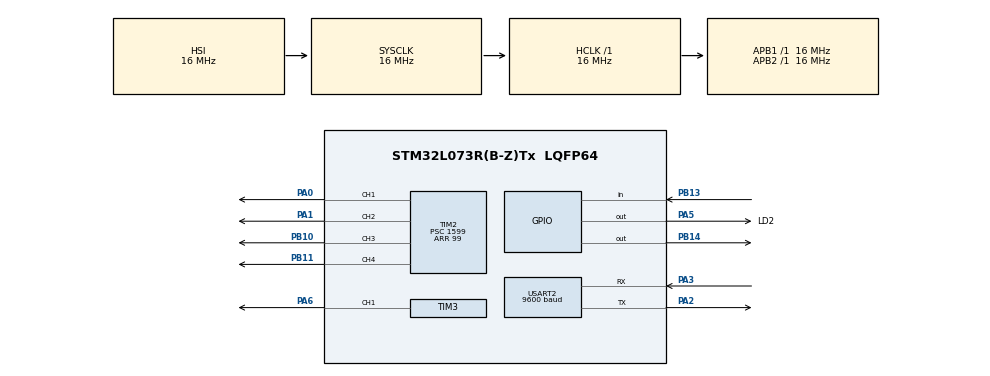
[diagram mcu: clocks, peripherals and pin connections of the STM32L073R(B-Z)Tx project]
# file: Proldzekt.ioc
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Mcu.Family=STM32L0
Mcu.Name=STM32L073R(B-Z)Tx
Mcu.Package=LQFP64
PA0.Signal=S_TIM2_CH1
PA1.Signal=S_TIM2_CH2
PA2.Mode=Asynchronous
PA2.Signal=USART2_TX
PA3.Mode=Asynchronous
PA3.Signal=USART2_RX
PA5.GPIO_Label=LD2
PA5.Signal=GPIO_Output
PA6.Signal=S_TIM3_CH1
PB10.Signal=S_TIM2_CH3
PB11.Signal=S_TIM2_CH4
PB13.Signal=GPIO_Input
PB14.Signal=GPIO_Output
PH0-OSC_IN.Mode=HSE-External-Oscillator
PH0-OSC_IN.Signal=RCC_OSC_IN
PH1-OSC_OUT.Mode=HSE-External-Oscillator
PH1-OSC_OUT.Signal=RCC_OSC_OUT
ProjectManager.HeapSize=0x200
ProjectManager.StackSize=0x400
ProjectManager.TargetToolchain=STM32CubeIDE
RCC.AHBFreq_Value=16000000
RCC.APB1Freq_Value=16000000
RCC.APB1TimFreq_Value=16000000
RCC.APB2Freq_Value=16000000
RCC.APB2TimFreq_Value=16000000
RCC.HCLKFreq_Value=16000000
RCC.HSE_VALUE=8000000
RCC.HSI16_VALUE=16000000
RCC.HSI48_VALUE=48000000
RCC.HSI_VALUE=16000000
RCC.LSE_VALUE=32768
RCC.MSI_VALUE=2097000
RCC.SYSCLKFreq_VALUE=16000000
RCC.SYSCLKSource=RCC_SYSCLKSOURCE_HSI
RCC.VCOOutputFreq_Value=48000000
SH.S_TIM2_CH1.0=TIM2_CH1,PWM Generation1 CH1
SH.S_TIM2_CH2.0=TIM2_CH2,PWM Generation2 CH2
SH.S_TIM2_CH3.0=TIM2_CH3,PWM Generation3 CH3
SH.S_TIM2_CH4.0=TIM2_CH4,PWM Generation4 CH4
SH.S_TIM3_CH1.0=TIM3_CH1,PWM Generation1 CH1
TIM2.Channel-PWM\ Generation1\ CH1=TIM_CHANNEL_1
TIM2.Channel-PWM\ Generation2\ CH2=TIM_CHANNEL_2
TIM2.Channel-PWM\ Generation3\ CH3=TIM_CHANNEL_3
TIM2.Channel-PWM\ Generation4\ CH4=TIM_CHANNEL_4
TIM2.Period=99
TIM2.Prescaler=1599
TIM21.Prescaler=15
TIM3.Channel-PWM\ Generation1\ CH1=TIM_CHANNEL_1
TIM3.Period=1000
TIM3.Prescaler=319
USART2.BaudRate=9600
USART2.VirtualMode-Asynchronous=VM_ASYNC
VP_TIM21_VS_ClockSourceINT.Mode=Internal
board=custom

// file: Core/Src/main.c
/* USER CODE BEGIN Header */
/**
  ******************************************************************************
  * @file           : main.c
  * @brief          : Main program body
  ******************************************************************************
  * @attention
  *
  * Copyright (c) 2023 STMicroelectronics.
  * All rights reserved.
  *
  * This software is licensed under terms that can be found in the LICENSE file
  * in the root directory of this software component.
  * If no LICENSE file comes with this software, it is provided AS-IS.
  *
  ******************************************************************************
  */
/* USER CODE END Header */
#include "main.h"

 TIM_HandleTypeDef htim2;
TIM_HandleTypeDef htim3;
TIM_HandleTypeDef htim21;

UART_HandleTypeDef huart2;

/* USER CODE BEGIN PV */
#define TRIG_PIN GPIO_PIN_14
#define TRIG_PORT GPIOB
#define ECHO_PIN GPIO_PIN_13
#define ECHO_PORT GPIOB
uint32_t pMillis;
uint32_t Value1 = 0;
uint32_t Value2 = 0;
uint16_t Distance  = 0;  // cm
/* USER CODE END PV */

void SystemClock_Config(void);
static void MX_GPIO_Init(void);
static void MX_TIM2_Init(void);
static void MX_TIM3_Init(void);
static void MX_TIM21_Init(void);
static void MX_USART2_UART_Init(void);

int main(void)
{

  /* MCU Configuration--------------------------------------------------------*/

  /* Reset of all peripherals, Initializes the Flash interface and the Systick. */
  HAL_Init();

  /* Configure the system clock */
  SystemClock_Config();

  /* Initialize all configured peripherals */
  MX_GPIO_Init();
  MX_TIM2_Init();
  MX_TIM3_Init();
  MX_TIM21_Init();
  MX_USART2_UART_Init();
  /* USER CODE BEGIN 2 */
  HAL_TIM_PWM_Start(&htim2, TIM_CHANNEL_1);
  HAL_TIM_PWM_Start(&htim2, TIM_CHANNEL_2);
  HAL_TIM_PWM_Start(&htim2, TIM_CHANNEL_3);
  HAL_TIM_PWM_Start(&htim2, TIM_CHANNEL_4);
  HAL_TIM_PWM_Start(&htim3, TIM_CHANNEL_1);
  HAL_TIM_Base_Start(&htim21);
  HAL_GPIO_WritePin(TRIG_PORT, TRIG_PIN, GPIO_PIN_RESET);
  /* USER CODE END 2 */

  /* Infinite loop */
  /* USER CODE BEGIN WHILE */
  __HAL_TIM_SET_COMPARE(&htim2 , TIM_CHANNEL_1 , 70 ) ;
  uint8_t buffor[1];
  int speed=25;
  int gear=2;
  while (1)
  { /*
	  HAL_GPIO_WritePin(TRIG_PORT, TRIG_PIN, GPIO_PIN_SET);  // pull the TRIG pin HIGH
	  	  __HAL_TIM_SET_COUNTER(&htim21, 0);
	  	  while (__HAL_TIM_GET_COUNTER (&htim21) < 10);  // wait for 10 us
	  	  HAL_GPIO_WritePin(TRIG_PORT, TRIG_PIN, GPIO_PIN_RESET);  // pull the TRIG pin low

	  	  pMillis = HAL_GetTick(); // used this to avoid infinite while loop  (for timeout)
	  	  	   // wait for the echo pin to go high
	  	  while (!(HAL_GPIO_ReadPin (ECHO_PORT, ECHO_PIN)) && pMillis + 10 >  HAL_GetTick());
	  	  Value1 = __HAL_TIM_GET_COUNTER (&htim21);

	  	  pMillis = HAL_GetTick(); // used this to avoid infinite while loop (for timeout)
	  	  	   // wait for the echo pin to go low
	  	  while ((HAL_GPIO_ReadPin (ECHO_PORT, ECHO_PIN)) && pMillis + 50 > HAL_GetTick());
	  	  Value2 = __HAL_TIM_GET_COUNTER (&htim21);

	  	  Distance = (Value2-Value1)* 0.034/2;
	  	  delay(30)/50;
*/

	  buffor[0]=0;

	  HAL_UART_Receive(&huart2, buffor, 1,10);
	  //if(buffor[0]=='1') gear=1;
	  if(buffor[0]=='2') gear=2;
	  if(buffor[0]=='3') gear=3;
	  if(buffor[0]=='4') gear=4;
	  if(buffor[0]=='w'){
		  	 for(int i = 0; i<=speed; i++){
			  __HAL_TIM_SET_COMPARE(&htim2, TIM_CHANNEL_1, gear*i);
			  __HAL_TIM_SET_COMPARE(&htim2, TIM_CHANNEL_2, gear*i);
			  __HAL_TIM_SET_COMPARE(&htim2, TIM_CHANNEL_3, 0);
			  __HAL_TIM_SET_COMPARE(&htim2, TIM_CHANNEL_4, 0);
		  	 }
//		  HAL_GPIO_WritePin(M1A_GPIO_Port, M1A_Pin, 1);
//		  HAL_GPIO_WritePin(M1B_GPIO_Port, M1B_Pin, 0);
//		  HAL_GPIO_WritePin(M2A_GPIO_Port, M2A_Pin, 1);
//		  HAL_GPIO_WritePin(M2B_GPIO_Port, M2B_Pin, 0);

	  }
	  if(buffor[0]=='s'){
		  for(int i = 0 ; i<=speed; i+=1){
			  __HAL_TIM_SET_COMPARE(&htim2, TIM_CHANNEL_1, 0);
			  __HAL_TIM_SET_COMPARE(&htim2, TIM_CHANNEL_2, 0);
			  __HAL_TIM_SET_COMPARE(&htim2, TIM_CHANNEL_3, gear*i);
			  __HAL_TIM_SET_COMPARE(&htim2, TIM_CHANNEL_4, gear*i);
		  }
//		  HAL_GPIO_WritePin(M1A_GPIO_Port, M1A_Pin, 0);
//		  HAL_GPIO_WritePin(M1B_GPIO_Port, M1B_Pin, 1);
//		  HAL_GPIO_WritePin(M2A_GPIO_Port, M2A_Pin, 0);
//		  HAL_GPIO_WritePin(M2B_GPIO_Port, M2B_Pin, 1);
	  }
	  if(buffor[0]==0){
		  __HAL_TIM_SET_COMPARE(&htim2, TIM_CHANNEL_1, 0);
		  __HAL_TIM_SET_COMPARE(&htim2, TIM_CHANNEL_2, 0);
		  __HAL_TIM_SET_COMPARE(&htim2, TIM_CHANNEL_3, 0);
		  __HAL_TIM_SET_COMPARE(&htim2, TIM_CHANNEL_4, 0);

//		  HAL_GPIO_WritePin(M1A_GPIO_Port, M1A_Pin, 0);
//		  HAL_GPIO_WritePin(M1B_GPIO_Port, M1B_Pin, 0);
//		  HAL_GPIO_WritePin(M2A_GPIO_Port, M2A_Pin, 0);
//		  HAL_GPIO_WritePin(M2B_GPIO_Port, M2B_Pin, 0);

	  }
	  if (buffor[0]=='d'){
		  int i =__HAL_TIM_GET_COMPARE(&htim3, TIM_CHANNEL_1);
		  for(; i<=90;i+=5){
		 		__HAL_TIM_SET_COMPARE(&htim3, TIM_CHANNEL_1 , i ) ;
		 		HAL_Delay(30);
		  }

//		   __HAL_TIM_SET_COMPARE(&htim5, TIM_CHANNEL_1, 60); // 135
//		   HAL_Delay(70);
//		   __HAL_TIM_SET_COMPARE(&htim5, TIM_CHANNEL_1, 70); // 135
//		   HAL_Delay(70);
//		   __HAL_TIM_SET_COMPARE(&htim5, TIM_CHANNEL_1, 80); // 135
//		   HAL_Delay(70);
//		   __HAL_TIM_SET_COMPARE(&htim5, TIM_CHANNEL_1, 90); // 135
//		   HAL_Delay(70);
  //		   __HAL_TIM_SET_COMPARE(&htim5, TIM_CHANNEL_1, 100); // 135
  //		   HAL_Delay(70);
		   //clicked=0;
	   }
	   if (buffor[0]=='x'){
		   int i =__HAL_TIM_GET_COMPARE(&htim3 , TIM_CHANNEL_1);
		   if(i<70)
			   for(; i<=70;i+=5){
					__HAL_TIM_SET_COMPARE(&htim3 , TIM_CHANNEL_1 , i ) ;
					HAL_Delay(30);
			   }
		   if(i>70)
		 	   for(; i>=70;i-=5){
		 		     __HAL_TIM_SET_COMPARE(&htim3 , TIM_CHANNEL_1 , i) ;
		 		     HAL_Delay(30);
		 	   }
//		   __HAL_TIM_SET_COMPARE(&htim5, TIM_CHANNEL_1, 90); // 90
//		   HAL_Delay(70);
//		   __HAL_TIM_SET_COMPARE(&htim5, TIM_CHANNEL_1, 80); // 90
//		   HAL_Delay(70);
//		   __HAL_TIM_SET_COMPARE(&htim5, TIM_CHANNEL_1, 71); // 90
//		   HAL_Delay(70);
		   //clicked=0;
	   }
	   if (buffor[0]=='a'){

		   int i =__HAL_TIM_GET_COMPARE(&htim3 , TIM_CHANNEL_1);
		   for(; i>=50;i-=5){
		   		 __HAL_TIM_SET_COMPARE(&htim3 , TIM_CHANNEL_1 , i ) ;
		   		 HAL_Delay(30);
		   }
//		   __HAL_TIM_SET_COMPARE(&htim5, TIM_CHANNEL_1, 70); // 45
//		   HAL_Delay(70);
//		   __HAL_TIM_SET_COMPARE(&htim5, TIM_CHANNEL_1, 60); // 45
//		   HAL_Delay(70);
//		   __HAL_TIM_SET_COMPARE(&htim5, TIM_CHANNEL_1, 50); // 45
//		   HAL_Delay(70);
		   //clicked=0;
	   }

    /* USER CODE END WHILE */

  }
}

void SystemClock_Config(void)
{
  RCC_OscInitTypeDef RCC_OscInitStruct = {0};
  RCC_ClkInitTypeDef RCC_ClkInitStruct = {0};
  RCC_PeriphCLKInitTypeDef PeriphClkInit = {0};

  /** Configure the main internal regulator output voltage
  */
  __HAL_PWR_VOLTAGESCALING_CONFIG(PWR_REGULATOR_VOLTAGE_SCALE1);

  /** Initializes the RCC Oscillators according to the specified parameters
  * in the RCC_OscInitTypeDef structure.
  */
  RCC_OscInitStruct.OscillatorType = RCC_OSCILLATORTYPE_HSI;
  RCC_OscInitStruct.HSIState = RCC_HSI_ON;
  RCC_OscInitStruct.HSICalibrationValue = RCC_HSICALIBRATION_DEFAULT;
  RCC_OscInitStruct.PLL.PLLState = RCC_PLL_NONE;
  if (HAL_RCC_OscConfig(&RCC_OscInitStruct) != HAL_OK)
  {
    Error_Handler();
  }

  /** Initializes the CPU, AHB and APB buses clocks
  */
  RCC_ClkInitStruct.ClockType = RCC_CLOCKTYPE_HCLK|RCC_CLOCKTYPE_SYSCLK
                              |RCC_CLOCKTYPE_PCLK1|RCC_CLOCKTYPE_PCLK2;
  RCC_ClkInitStruct.SYSCLKSource = RCC_SYSCLKSOURCE_HSI;
  RCC_ClkInitStruct.AHBCLKDivider = RCC_SYSCLK_DIV1;
  RCC_ClkInitStruct.APB1CLKDivider = RCC_HCLK_DIV1;
  RCC_ClkInitStruct.APB2CLKDivider = RCC_HCLK_DIV1;

  if (HAL_RCC_ClockConfig(&RCC_ClkInitStruct, FLASH_LATENCY_0) != HAL_OK)
  {
    Error_Handler();
  }
  PeriphClkInit.PeriphClockSelection = RCC_PERIPHCLK_USART2;
  PeriphClkInit.Usart2ClockSelection = RCC_USART2CLKSOURCE_PCLK1;
  if (HAL_RCCEx_PeriphCLKConfig(&PeriphClkInit) != HAL_OK)
  {
    Error_Handler();
  }
}

static void MX_TIM2_Init(void)
{

  TIM_MasterConfigTypeDef sMasterConfig = {0};
  TIM_OC_InitTypeDef sConfigOC = {0};

  htim2.Instance = TIM2;
  htim2.Init.Prescaler = 1599;
  htim2.Init.CounterMode = TIM_COUNTERMODE_UP;
  htim2.Init.Period = 99;
  htim2.Init.ClockDivision = TIM_CLOCKDIVISION_DIV1;
  htim2.Init.AutoReloadPreload = TIM_AUTORELOAD_PRELOAD_DISABLE;
  if (HAL_TIM_PWM_Init(&htim2) != HAL_OK)
  {
    Error_Handler();
  }
  sMasterConfig.MasterOutputTrigger = TIM_TRGO_RESET;
  sMasterConfig.MasterSlaveMode = TIM_MASTERSLAVEMODE_DISABLE;
  if (HAL_TIMEx_MasterConfigSynchronization(&htim2, &sMasterConfig) != HAL_OK)
  {
    Error_Handler();
  }
  sConfigOC.OCMode = TIM_OCMODE_PWM1;
  sConfigOC.Pulse = 0;
  sConfigOC.OCPolarity = TIM_OCPOLARITY_HIGH;
  sConfigOC.OCFastMode = TIM_OCFAST_DISABLE;
  if (HAL_TIM_PWM_ConfigChannel(&htim2, &sConfigOC, TIM_CHANNEL_1) != HAL_OK)
  {
    Error_Handler();
  }
  if (HAL_TIM_PWM_ConfigChannel(&htim2, &sConfigOC, TIM_CHANNEL_2) != HAL_OK)
  {
    Error_Handler();
  }
  if (HAL_TIM_PWM_ConfigChannel(&htim2, &sConfigOC, TIM_CHANNEL_3) != HAL_OK)
  {
    Error_Handler();
  }
  if (HAL_TIM_PWM_ConfigChannel(&htim2, &sConfigOC, TIM_CHANNEL_4) != HAL_OK)
  {
    Error_Handler();
  }
  HAL_TIM_MspPostInit(&htim2);

}

static void MX_TIM3_Init(void)
{

  TIM_MasterConfigTypeDef sMasterConfig = {0};
  TIM_OC_InitTypeDef sConfigOC = {0};

  htim3.Instance = TIM3;
  htim3.Init.Prescaler = 319;
  htim3.Init.CounterMode = TIM_COUNTERMODE_UP;
  htim3.Init.Period = 1000;
  htim3.Init.ClockDivision = TIM_CLOCKDIVISION_DIV1;
  htim3.Init.AutoReloadPreload = TIM_AUTORELOAD_PRELOAD_DISABLE;
  if (HAL_TIM_PWM_Init(&htim3) != HAL_OK)
  {
    Error_Handler();
  }
  sMasterConfig.MasterOutputTrigger = TIM_TRGO_RESET;
  sMasterConfig.MasterSlaveMode = TIM_MASTERSLAVEMODE_DISABLE;
  if (HAL_TIMEx_MasterConfigSynchronization(&htim3, &sMasterConfig) != HAL_OK)
  {
    Error_Handler();
  }
  sConfigOC.OCMode = TIM_OCMODE_PWM1;
  sConfigOC.Pulse = 0;
  sConfigOC.OCPolarity = TIM_OCPOLARITY_HIGH;
  sConfigOC.OCFastMode = TIM_OCFAST_DISABLE;
  if (HAL_TIM_PWM_ConfigChannel(&htim3, &sConfigOC, TIM_CHANNEL_1) != HAL_OK)
  {
    Error_Handler();
  }
  if (HAL_TIMEx_RemapConfig(&htim3, TIM3_TI1_GPIO) != HAL_OK)
  {
    Error_Handler();
  }
  HAL_TIM_MspPostInit(&htim3);

}

static void MX_TIM21_Init(void)
{

  TIM_ClockConfigTypeDef sClockSourceConfig = {0};
  TIM_MasterConfigTypeDef sMasterConfig = {0};

  htim21.Instance = TIM21;
  htim21.Init.Prescaler = 15;
  htim21.Init.CounterMode = TIM_COUNTERMODE_UP;
  htim21.Init.Period = 65535;
  htim21.Init.ClockDivision = TIM_CLOCKDIVISION_DIV1;
  htim21.Init.AutoReloadPreload = TIM_AUTORELOAD_PRELOAD_DISABLE;
  if (HAL_TIM_Base_Init(&htim21) != HAL_OK)
  {
    Error_Handler();
  }
  sClockSourceConfig.ClockSource = TIM_CLOCKSOURCE_INTERNAL;
  if (HAL_TIM_ConfigClockSource(&htim21, &sClockSourceConfig) != HAL_OK)
  {
    Error_Handler();
  }
  sMasterConfig.MasterOutputTrigger = TIM_TRGO_RESET;
  sMasterConfig.MasterSlaveMode = TIM_MASTERSLAVEMODE_DISABLE;
  if (HAL_TIMEx_MasterConfigSynchronization(&htim21, &sMasterConfig) != HAL_OK)
  {
    Error_Handler();
  }

}

static void MX_USART2_UART_Init(void)
{

  huart2.Instance = USART2;
  huart2.Init.BaudRate = 9600;
  huart2.Init.WordLength = UART_WORDLENGTH_8B;
  huart2.Init.StopBits = UART_STOPBITS_1;
  huart2.Init.Parity = UART_PARITY_NONE;
  huart2.Init.Mode = UART_MODE_TX_RX;
  huart2.Init.HwFlowCtl = UART_HWCONTROL_NONE;
  huart2.Init.OverSampling = UART_OVERSAMPLING_16;
  huart2.Init.OneBitSampling = UART_ONE_BIT_SAMPLE_DISABLE;
  huart2.AdvancedInit.AdvFeatureInit = UART_ADVFEATURE_NO_INIT;
  if (HAL_UART_Init(&huart2) != HAL_OK)
  {
    Error_Handler();
  }

}

static void MX_GPIO_Init(void)
{
  GPIO_InitTypeDef GPIO_InitStruct = {0};

  /* GPIO Ports Clock Enable */
  __HAL_RCC_GPIOH_CLK_ENABLE();
  __HAL_RCC_GPIOA_CLK_ENABLE();
  __HAL_RCC_GPIOB_CLK_ENABLE();

  /*Configure GPIO pin Output Level */
  HAL_GPIO_WritePin(LD2_GPIO_Port, LD2_Pin, GPIO_PIN_RESET);

  /*Configure GPIO pin Output Level */
  HAL_GPIO_WritePin(GPIOB, GPIO_PIN_14, GPIO_PIN_RESET);

  /*Configure GPIO pin : LD2_Pin */
  GPIO_InitStruct.Pin = LD2_Pin;
  GPIO_InitStruct.Mode = GPIO_MODE_OUTPUT_PP;
  GPIO_InitStruct.Pull = GPIO_NOPULL;
  GPIO_InitStruct.Speed = GPIO_SPEED_FREQ_LOW;
  HAL_GPIO_Init(LD2_GPIO_Port, &GPIO_InitStruct);

  /*Configure GPIO pin : PB13 */
  GPIO_InitStruct.Pin = GPIO_PIN_13;
  GPIO_InitStruct.Mode = GPIO_MODE_INPUT;
  GPIO_InitStruct.Pull = GPIO_NOPULL;
  HAL_GPIO_Init(GPIOB, &GPIO_InitStruct);

  /*Configure GPIO pin : PB14 */
  GPIO_InitStruct.Pin = GPIO_PIN_14;
  GPIO_InitStruct.Mode = GPIO_MODE_OUTPUT_PP;
  GPIO_InitStruct.Pull = GPIO_NOPULL;
  GPIO_InitStruct.Speed = GPIO_SPEED_FREQ_LOW;
  HAL_GPIO_Init(GPIOB, &GPIO_InitStruct);

}

void Error_Handler(void)
{
  __disable_irq();
  while (1)
  {
  }
}
